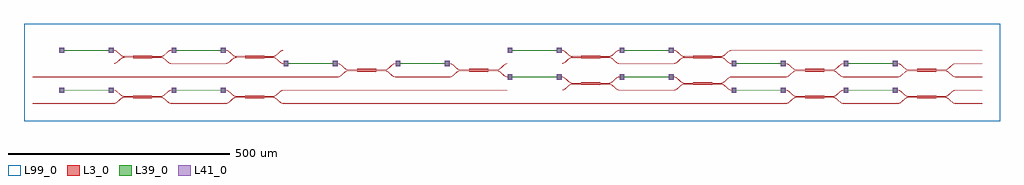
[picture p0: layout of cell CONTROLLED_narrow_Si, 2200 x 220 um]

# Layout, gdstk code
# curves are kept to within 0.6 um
import gdstk
lib = gdstk.Library(unit=1e-6, precision=1e-09)
def R(c, l, rs):  # rectangles x0, y0, x1, y1
    for r in rs: c.add(gdstk.rectangle(r[:2], r[2:], *l))
def P(c, l, *ps):  # polygons
    for p in ps: c.add(gdstk.Polygon(p, *l))
L3_0 = (3, 0)
L39_0 = (39, 0)
L41_0 = (41, 0)
L99_0 = (99, 0)

controlled_narrow_si = lib.new_cell('CONTROLLED_narrow_Si')
R(controlled_narrow_si, L3_0, [(10,-145,30,-144.8)])
P(controlled_narrow_si, L3_0, [(1009.504,-120.225),(1009.504,-119.775),(1637.496,-119.775),(1638.617,-119.691),(1640.298,-119.257),(1641.425,-118.769),(1643.124,-117.765),(1645.976,-115.514),(1651.149,-110.68),(1653.462,-108.719),(1655.79,-107.154),(1657.548,-106.336),(1658.726,-105.988),(1659.908,-105.812),(1681,-105.265),(1681,-104.735),(1659.908,-104.188),(1658.726,-104.012),(1657.548,-103.664),(1655.79,-102.846),(1653.462,-101.281),(1651.149,-99.32),(1645.976,-94.486),(1643.124,-92.235),(1641.425,-91.231),(1640.298,-90.743),(1638.058,-90.247),(1513.908,-90.203),(1512.726,-90.027),(1511.548,-89.679),(1510.375,-89.171),(1508.624,-88.139),(1505.726,-85.852),(1500.549,-81.014),(1497.693,-78.648),(1495.99,-77.546),(1494.861,-76.984),(1492.617,-76.324),(1491.496,-76.24),(1405.337,-76.24),(1407.408,-75.812),(1428.5,-75.265),(1428.5,-74.735),(1407.408,-74.188),(1406.226,-74.012),(1405.048,-73.664),(1403.29,-72.846),(1400.962,-71.281),(1398.649,-69.32),(1393.476,-64.486),(1390.624,-62.235),(1388.925,-61.231),(1387.798,-60.743),(1385.558,-60.247),(1259.337,-60.225),(1260.817,-59.863),(1261.996,-59.775),(1385.592,-59.797),(1386.774,-59.973),(1387.952,-60.321),(1389.125,-60.829),(1390.876,-61.861),(1393.774,-64.148),(1398.951,-68.986),(1401.807,-71.352),(1403.51,-72.454),(1404.639,-73.016),(1406.883,-73.676),(1408.5,-73.76),(1428.5,-73.235),(1428.5,-72),(1471,-72),(1471,-73.235),(1492.058,-73.738),(1493.176,-73.572),(1494.861,-73.016),(1495.99,-72.454),(1497.693,-71.352),(1499.976,-69.499),(1506.304,-63.647),(1509.206,-61.484),(1511.548,-60.321),(1512.726,-59.973),(1513.908,-59.797),(1637.496,-59.775),(1639.736,-59.442),(1641.425,-58.769),(1643.693,-57.367),(1645.976,-55.514),(1652.883,-49.179),(1655.206,-47.499),(1657.548,-46.336),(1658.726,-45.988),(1659.908,-45.812),(1681,-45.265),(1681,-44.735),(1659.908,-44.188),(1658.726,-44.012),(1657.548,-43.664),(1655.206,-42.501),(1652.883,-40.821),(1645.976,-34.486),(1643.693,-32.633),(1641.425,-31.231),(1639.176,-30.413),(1637.496,-30.225),(1513.908,-30.203),(1512.726,-30.027),(1511.548,-29.679),(1510.375,-29.171),(1508.624,-28.139),(1505.726,-25.852),(1500.549,-21.014),(1497.693,-18.648),(1495.99,-17.546),(1494.861,-16.984),(1492.617,-16.324),(1491.496,-16.24),(1405.337,-16.24),(1407.408,-15.812),(1428.5,-15.265),(1428.5,-14.735),(1407.408,-14.188),(1406.226,-14.012),(1405.048,-13.664),(1402.706,-12.501),(1400.383,-10.821),(1393.476,-4.486),(1391.193,-2.633),(1389.49,-1.531),(1388.361,-0.969),(1386.117,-0.309),(1384.996,-0.225),(1259.337,-0.225),(1260.817,0.137),(1261.996,0.225),(1385.592,0.203),(1386.774,0.027),(1387.952,-0.321),(1389.125,-0.829),(1390.876,-1.861),(1393.774,-4.148),(1398.951,-8.986),(1401.807,-11.352),(1403.51,-12.454),(1404.639,-13.016),(1406.883,-13.676),(1408.5,-13.76),(1428.5,-13.235),(1428.5,-12),(1471,-12),(1471,-13.235),(1491.496,-13.76),(1492.617,-13.676),(1494.298,-13.242),(1495.425,-12.754),(1497.124,-11.75),(1499.976,-9.499),(1506.304,-3.647),(1509.206,-1.484),(1510.961,-0.555),(1512.136,-0.126),(1513.317,0.137),(1514.496,0.225),(2080,0.225),(2080,-0.225),(1514.504,-0.225),(1513.383,-0.309),(1511.702,-0.743),(1510.575,-1.231),(1508.876,-2.235),(1506.024,-4.486),(1500.851,-9.32),(1498.538,-11.281),(1496.21,-12.846),(1494.452,-13.664),(1493.274,-14.012),(1492.092,-14.188),(1471,-14.735),(1471,-15.265),(1492.092,-15.812),(1493.274,-15.988),(1494.452,-16.336),(1496.21,-17.154),(1498.538,-18.719),(1500.851,-20.68),(1506.024,-25.514),(1508.876,-27.765),(1510.575,-28.769),(1511.702,-29.257),(1513.942,-29.753),(1637.504,-29.775),(1638.683,-29.863),(1641.039,-30.555),(1642.21,-31.139),(1643.957,-32.269),(1646.274,-34.148),(1652.596,-39.996),(1654.876,-41.75),(1656.575,-42.754),(1657.702,-43.242),(1659.942,-43.738),(1681,-43.235),(1681,-42),(1723.5,-42),(1723.5,-43.235),(1743.5,-43.76),(1745.117,-43.676),(1747.361,-43.016),(1748.49,-42.454),(1750.193,-41.352),(1752.476,-39.499),(1758.804,-33.647),(1761.706,-31.484),(1762.875,-30.829),(1764.337,-30.225),(1767.004,-30.225),(1765.883,-30.309),(1764.202,-30.743),(1763.075,-31.231),(1761.376,-32.235),(1758.524,-34.486),(1753.351,-39.32),(1751.038,-41.281),(1748.71,-42.846),(1746.952,-43.664),(1745.774,-44.012),(1744.592,-44.188),(1723.5,-44.735),(1723.5,-45.265),(1744.592,-45.812),(1745.774,-45.988),(1746.952,-46.336),(1748.71,-47.154),(1751.038,-48.719),(1753.351,-50.68),(1758.524,-55.514),(1761.376,-57.765),(1763.075,-58.769),(1764.202,-59.257),(1765.883,-59.691),(1767.004,-59.775),(1890.558,-59.753),(1892.798,-59.257),(1893.925,-58.769),(1895.624,-57.765),(1898.476,-55.514),(1903.649,-50.68),(1905.962,-48.719),(1908.29,-47.154),(1910.048,-46.336),(1911.226,-45.988),(1912.408,-45.812),(1933.5,-45.265),(1933.5,-44.735),(1912.408,-44.188),(1911.226,-44.012),(1910.048,-43.664),(1908.29,-42.846),(1905.962,-41.281),(1903.649,-39.32),(1898.476,-34.486),(1895.624,-32.235),(1893.925,-31.231),(1892.798,-30.743),(1890.558,-30.247),(1764.337,-30.225),(1766.408,-29.797),(1890.592,-29.797),(1891.774,-29.973),(1892.952,-30.321),(1894.125,-30.829),(1895.876,-31.861),(1898.774,-34.148),(1903.951,-38.986),(1906.807,-41.352),(1908.51,-42.454),(1909.639,-43.016),(1911.883,-43.676),(1913.5,-43.76),(1933.5,-43.235),(1933.5,-42),(1976,-42),(1976,-43.235),(1996.496,-43.76),(1998.736,-43.427),(1999.861,-43.016),(2001.556,-42.119),(2004.404,-39.996),(2010.726,-34.148),(2013.043,-32.269),(2014.79,-31.139),(2015.961,-30.555),(2018.317,-29.863),(2019.496,-29.775),(2080,-29.775),(2080,-30.225),(2018.383,-30.309),(2016.139,-30.969),(2015.01,-31.531),(2013.307,-32.633),(2011.024,-34.486),(2004.117,-40.821),(2001.794,-42.501),(1999.452,-43.664),(1998.274,-44.012),(1997.092,-44.188),(1976,-44.735),(1976,-45.265),(1997.092,-45.812),(1998.274,-45.988),(1999.452,-46.336),(2001.794,-47.499),(2004.117,-49.179),(2011.024,-55.514),(2013.307,-57.367),(2015.01,-58.469),(2016.139,-59.031),(2018.383,-59.691),(2080,-59.775),(2080,-60.225),(2019.496,-60.225),(2018.317,-60.137),(2015.961,-59.445),(2014.79,-58.861),(2013.043,-57.731),(2010.726,-55.852),(2004.404,-50.004),(2001.556,-47.881),(1999.861,-46.984),(1998.736,-46.573),(1996.496,-46.24),(1976,-46.765),(1976,-48),(1933.5,-48),(1933.5,-46.765),(1913.5,-46.24),(1911.883,-46.324),(1909.639,-46.984),(1908.51,-47.546),(1906.807,-48.648),(1904.524,-50.501),(1898.196,-56.353),(1895.294,-58.516),(1893.539,-59.445),(1892.364,-59.874),(1891.183,-60.137),(1890.004,-60.225),(1766.408,-60.203),(1765.226,-60.027),(1764.048,-59.679),(1762.875,-59.171),(1761.124,-58.139),(1758.226,-55.852),(1753.049,-51.014),(1750.193,-48.648),(1748.49,-47.546),(1747.361,-46.984),(1745.117,-46.324),(1743.5,-46.24),(1723.5,-46.765),(1723.5,-48),(1681,-48),(1681,-46.765),(1660.504,-46.24),(1658.264,-46.573),(1657.139,-46.984),(1655.444,-47.881),(1652.596,-50.004),(1646.274,-55.852),(1643.957,-57.731),(1642.21,-58.861),(1641.039,-59.445),(1638.683,-60.137),(1637.504,-60.225),(1513.942,-60.247),(1511.702,-60.743),(1510.575,-61.231),(1508.876,-62.235),(1506.024,-64.486),(1500.851,-69.32),(1498.538,-71.281),(1496.21,-72.846),(1494.452,-73.664),(1493.274,-74.012),(1492.092,-74.188),(1471,-74.735),(1471,-75.265),(1492.092,-75.812),(1493.274,-75.988),(1494.452,-76.336),(1496.21,-77.154),(1498.538,-78.719),(1500.851,-80.68),(1506.024,-85.514),(1508.876,-87.765),(1510.575,-88.769),(1511.702,-89.257),(1513.942,-89.753),(1637.504,-89.775),(1638.683,-89.863),(1641.039,-90.555),(1642.21,-91.139),(1643.957,-92.269),(1646.274,-94.148),(1652.596,-99.996),(1654.876,-101.75),(1656.575,-102.754),(1657.702,-103.242),(1659.942,-103.738),(1681,-103.235),(1681,-102),(1723.5,-102),(1723.5,-103.235),(1743.5,-103.76),(1745.117,-103.676),(1747.361,-103.016),(1748.49,-102.454),(1750.193,-101.352),(1752.476,-99.499),(1758.804,-93.647),(1761.706,-91.484),(1762.875,-90.829),(1764.337,-90.225),(1767.004,-90.225),(1765.883,-90.309),(1764.202,-90.743),(1763.075,-91.231),(1761.376,-92.235),(1758.524,-94.486),(1753.351,-99.32),(1751.038,-101.281),(1748.71,-102.846),(1746.952,-103.664),(1745.774,-104.012),(1744.592,-104.188),(1723.5,-104.735),(1723.5,-105.265),(1744.592,-105.812),(1745.774,-105.988),(1746.952,-106.336),(1748.71,-107.154),(1751.038,-108.719),(1753.351,-110.68),(1758.524,-115.514),(1761.376,-117.765),(1763.075,-118.769),(1764.202,-119.257),(1765.883,-119.691),(1767.004,-119.775),(1890.558,-119.753),(1892.798,-119.257),(1893.925,-118.769),(1895.624,-117.765),(1898.476,-115.514),(1903.649,-110.68),(1905.962,-108.719),(1908.29,-107.154),(1910.048,-106.336),(1911.226,-105.988),(1912.408,-105.812),(1933.5,-105.265),(1933.5,-104.735),(1912.408,-104.188),(1911.226,-104.012),(1910.048,-103.664),(1908.29,-102.846),(1905.962,-101.281),(1903.649,-99.32),(1898.476,-94.486),(1895.624,-92.235),(1893.925,-91.231),(1892.798,-90.743),(1890.558,-90.247),(1764.337,-90.225),(1766.408,-89.797),(1890.592,-89.797),(1891.774,-89.973),(1892.952,-90.321),(1894.125,-90.829),(1895.876,-91.861),(1898.774,-94.148),(1903.951,-98.986),(1906.807,-101.352),(1908.51,-102.454),(1909.639,-103.016),(1911.883,-103.676),(1913.5,-103.76),(1933.5,-103.235),(1933.5,-102),(1976,-102),(1976,-103.235),(1996.496,-103.76),(1998.736,-103.427),(1999.861,-103.016),(2001.556,-102.119),(2004.404,-99.996),(2010.726,-94.148),(2013.043,-92.269),(2014.79,-91.139),(2015.961,-90.555),(2018.317,-89.863),(2019.496,-89.775),(2080,-89.775),(2080,-90.225),(2018.383,-90.309),(2016.139,-90.969),(2015.01,-91.531),(2013.307,-92.633),(2011.024,-94.486),(2004.117,-100.821),(2001.794,-102.501),(1999.452,-103.664),(1998.274,-104.012),(1997.092,-104.188),(1976,-104.735),(1976,-105.265),(1997.092,-105.812),(1998.274,-105.988),(1999.452,-106.336),(2001.794,-107.499),(2004.117,-109.179),(2011.024,-115.514),(2013.307,-117.367),(2015.01,-118.469),(2016.139,-119.031),(2018.383,-119.691),(2080,-119.775),(2080,-120.225),(2019.496,-120.225),(2018.317,-120.137),(2015.961,-119.445),(2014.79,-118.861),(2013.043,-117.731),(2010.726,-115.852),(2004.404,-110.004),(2001.556,-107.881),(1999.861,-106.984),(1998.736,-106.573),(1996.496,-106.24),(1976,-106.765),(1976,-108),(1933.5,-108),(1933.5,-106.765),(1913.5,-106.24),(1911.883,-106.324),(1909.639,-106.984),(1908.51,-107.546),(1906.807,-108.648),(1904.524,-110.501),(1898.196,-116.353),(1895.294,-118.516),(1893.539,-119.445),(1892.364,-119.874),(1891.183,-120.137),(1890.004,-120.225),(1766.408,-120.203),(1765.226,-120.027),(1763.461,-119.445),(1762.29,-118.861),(1760.543,-117.731),(1758.226,-115.852),(1751.904,-110.004),(1749.056,-107.881),(1747.361,-106.984),(1746.236,-106.573),(1743.996,-106.24),(1723.5,-106.765),(1723.5,-108),(1681,-108),(1681,-106.765),(1661,-106.24),(1659.383,-106.324),(1657.139,-106.984),(1656.01,-107.546),(1654.307,-108.648),(1652.024,-110.501),(1645.696,-116.353),(1642.794,-118.516),(1641.039,-119.445),(1639.864,-119.874),(1638.683,-120.137),(1637.504,-120.225)],
  [(1009.504,-90.225),(1009.504,-89.775),(1133.058,-89.753),(1135.298,-89.257),(1136.425,-88.769),(1138.124,-87.765),(1140.976,-85.514),(1146.149,-80.68),(1148.462,-78.719),(1150.79,-77.154),(1152.548,-76.336),(1154.908,-75.812),(1176,-75.265),(1176,-74.735),(1154.908,-74.188),(1152.548,-73.664),(1150.79,-72.846),(1148.462,-71.281),(1146.149,-69.32),(1140.976,-64.486),(1138.124,-62.235),(1136.425,-61.231),(1135.298,-60.743),(1133.058,-60.247),(1009.504,-60.225),(1009.504,-59.775),(1133.092,-59.797),(1134.274,-59.973),(1136.039,-60.555),(1138.957,-62.269),(1141.274,-64.148),(1147.596,-69.996),(1150.444,-72.119),(1152.139,-73.016),(1153.264,-73.427),(1155.504,-73.76),(1176,-73.235),(1176,-72),(1218.5,-72),(1218.5,-73.235),(1238.5,-73.76),(1240.117,-73.676),(1242.361,-73.016),(1245.193,-71.352),(1247.476,-69.499),(1253.804,-63.647),(1256.706,-61.484),(1259.337,-60.225),(1262.004,-60.225),(1260.883,-60.309),(1259.202,-60.743),(1258.075,-61.231),(1256.376,-62.235),(1253.524,-64.486),(1248.351,-69.32),(1246.038,-71.281),(1243.71,-72.846),(1241.952,-73.664),(1239.592,-74.188),(1218.5,-74.735),(1218.5,-75.265),(1239.592,-75.812),(1241.952,-76.336),(1243.71,-77.154),(1246.038,-78.719),(1248.351,-80.68),(1253.524,-85.514),(1256.376,-87.765),(1258.075,-88.769),(1259.202,-89.257),(1260.883,-89.691),(1262.004,-89.775),(1385.558,-89.753),(1387.798,-89.257),(1388.925,-88.769),(1390.624,-87.765),(1393.476,-85.514),(1398.649,-80.68),(1400.962,-78.719),(1403.29,-77.154),(1405.337,-76.24),(1491,-76.24),(1471,-76.765),(1471,-78),(1428.5,-78),(1428.5,-76.765),(1408.5,-76.24),(1406.883,-76.324),(1404.639,-76.984),(1401.807,-78.648),(1399.524,-80.501),(1393.196,-86.353),(1390.294,-88.516),(1388.539,-89.445),(1387.364,-89.874),(1385.004,-90.225),(1261.408,-90.203),(1260.226,-90.027),(1258.461,-89.445),(1255.543,-87.731),(1253.226,-85.852),(1246.904,-80.004),(1244.056,-77.881),(1242.361,-76.984),(1241.236,-76.573),(1238.996,-76.24),(1218.5,-76.765),(1218.5,-78),(1176,-78),(1176,-76.765),(1156,-76.24),(1154.383,-76.324),(1152.139,-76.984),(1149.307,-78.648),(1146.451,-81.014),(1141.274,-85.852),(1138.376,-88.139),(1136.625,-89.171),(1135.452,-89.679),(1133.092,-90.203)],
  [(1009.504,-30.225),(1009.504,-29.775),(1133.058,-29.753),(1135.298,-29.257),(1136.425,-28.769),(1138.124,-27.765),(1140.976,-25.514),(1146.149,-20.68),(1148.462,-18.719),(1150.79,-17.154),(1152.548,-16.336),(1154.908,-15.812),(1176,-15.265),(1176,-14.735),(1154.908,-14.188),(1152.548,-13.664),(1150.79,-12.846),(1148.462,-11.281),(1146.149,-9.32),(1140.976,-4.486),(1138.124,-2.235),(1136.425,-1.231),(1135.298,-0.743),(1133.058,-0.247),(1009.504,-0.225),(1009.504,0.225),(1133.092,0.203),(1134.274,0.027),(1136.039,-0.555),(1138.957,-2.269),(1141.274,-4.148),(1147.596,-9.996),(1150.444,-12.119),(1152.139,-13.016),(1153.264,-13.427),(1155.504,-13.76),(1176,-13.235),(1176,-12),(1218.5,-12),(1218.5,-13.235),(1238.5,-13.76),(1240.117,-13.676),(1242.361,-13.016),(1245.193,-11.352),(1247.476,-9.499),(1253.804,-3.647),(1256.706,-1.484),(1259.337,-0.225),(1262.004,-0.225),(1260.883,-0.309),(1259.202,-0.743),(1258.075,-1.231),(1256.376,-2.235),(1253.524,-4.486),(1248.351,-9.32),(1246.038,-11.281),(1243.71,-12.846),(1241.952,-13.664),(1239.592,-14.188),(1218.5,-14.735),(1218.5,-15.265),(1239.592,-15.812),(1241.952,-16.336),(1243.71,-17.154),(1246.038,-18.719),(1248.351,-20.68),(1253.524,-25.514),(1256.376,-27.765),(1258.075,-28.769),(1259.202,-29.257),(1260.883,-29.691),(1262.004,-29.775),(1385.558,-29.753),(1387.798,-29.257),(1388.925,-28.769),(1390.624,-27.765),(1393.476,-25.514),(1398.649,-20.68),(1400.962,-18.719),(1403.29,-17.154),(1405.337,-16.24),(1491,-16.24),(1471,-16.765),(1471,-18),(1428.5,-18),(1428.5,-16.765),(1408.5,-16.24),(1406.883,-16.324),(1404.639,-16.984),(1401.807,-18.648),(1399.524,-20.501),(1393.196,-26.353),(1390.294,-28.516),(1388.539,-29.445),(1387.364,-29.874),(1385.004,-30.225),(1261.408,-30.203),(1260.226,-30.027),(1258.461,-29.445),(1255.543,-27.731),(1253.226,-25.852),(1246.904,-20.004),(1244.056,-17.881),(1242.361,-16.984),(1241.236,-16.573),(1238.996,-16.24),(1218.5,-16.765),(1218.5,-18),(1176,-18),(1176,-16.765),(1156,-16.24),(1154.383,-16.324),(1152.139,-16.984),(1149.307,-18.648),(1146.451,-21.014),(1141.274,-25.852),(1138.376,-28.139),(1136.625,-29.171),(1135.452,-29.679),(1133.092,-30.203)],
  [(501.837,-0.225),(502.136,-0.126),(502.726,0.027),(503.317,0.137),(503.908,0.203),(504.496,0.225),(1009.504,0.225),(1009.504,-0.225)],
  [(-60,-60.225),(-60,-59.775),(627.496,-59.775),(628.617,-59.691),(630.298,-59.257),(631.425,-58.769),(633.124,-57.765),(635.976,-55.514),(641.149,-50.68),(643.462,-48.719),(645.79,-47.154),(647.548,-46.336),(649.908,-45.812),(671,-45.265),(671,-44.735),(649.908,-44.188),(647.548,-43.664),(645.79,-42.846),(643.462,-41.281),(641.149,-39.32),(635.976,-34.486),(633.124,-32.235),(631.425,-31.231),(630.298,-30.743),(628.058,-30.247),(503.317,-30.137),(500.961,-29.445),(499.79,-28.861),(498.043,-27.731),(495.726,-25.852),(489.404,-20.004),(486.556,-17.881),(484.861,-16.984),(483.736,-16.573),(481.496,-16.24),(461,-16.765),(461,-18),(418.5,-18),(418.5,-16.765),(398.5,-16.24),(396.883,-16.324),(394.639,-16.984),(393.51,-17.546),(391.807,-18.648),(389.524,-20.501),(383.196,-26.353),(380.294,-28.516),(378.539,-29.445),(377.364,-29.874),(375.004,-30.225),(251.408,-30.203),(250.226,-30.027),(248.461,-29.445),(247.29,-28.861),(245.543,-27.731),(243.226,-25.852),(236.904,-20.004),(234.056,-17.881),(232.361,-16.984),(231.236,-16.573),(228.996,-16.24),(208.5,-16.765),(208.5,-18),(166,-18),(166,-16.765),(146,-16.24),(144.383,-16.324),(142.139,-16.984),(141.01,-17.546),(139.307,-18.648),(136.451,-21.014),(131.274,-25.852),(128.376,-28.139),(126.625,-29.171),(125.452,-29.679),(123.092,-30.203),(-60,-30.225),(-60,-29.775),(123.058,-29.753),(125.298,-29.257),(126.425,-28.769),(128.124,-27.765),(130.976,-25.514),(136.149,-20.68),(138.462,-18.719),(140.79,-17.154),(142.548,-16.336),(144.908,-15.812),(166,-15.265),(166,-14.735),(144.908,-14.188),(142.548,-13.664),(140.79,-12.846),(138.462,-11.281),(136.149,-9.32),(130.976,-4.486),(128.124,-2.235),(126.425,-1.231),(125.298,-0.743),(123.058,-0.247),(-60,-0.225),(-60,0.225),(123.092,0.203),(124.274,0.027),(126.039,-0.555),(127.21,-1.139),(128.957,-2.269),(131.274,-4.148),(137.596,-9.996),(140.444,-12.119),(142.139,-13.016),(143.264,-13.427),(145.504,-13.76),(166,-13.235),(166,-12),(208.5,-12),(208.5,-13.235),(228.5,-13.76),(230.117,-13.676),(232.361,-13.016),(233.49,-12.454),(235.193,-11.352),(237.476,-9.499),(243.804,-3.647),(246.706,-1.484),(249.337,-0.225),(252.004,-0.225),(250.883,-0.309),(249.202,-0.743),(248.075,-1.231),(246.376,-2.235),(243.524,-4.486),(238.351,-9.32),(236.038,-11.281),(233.71,-12.846),(231.952,-13.664),(229.592,-14.188),(208.5,-14.735),(208.5,-15.265),(229.592,-15.812),(231.952,-16.336),(233.71,-17.154),(236.038,-18.719),(238.351,-20.68),(243.524,-25.514),(246.376,-27.765),(248.075,-28.769),(249.202,-29.257),(250.883,-29.691),(252.004,-29.775),(375.558,-29.753),(377.798,-29.257),(378.925,-28.769),(380.624,-27.765),(383.476,-25.514),(388.649,-20.68),(390.962,-18.719),(393.29,-17.154),(395.048,-16.336),(397.408,-15.812),(418.5,-15.265),(418.5,-14.735),(397.408,-14.188),(395.048,-13.664),(393.29,-12.846),(390.962,-11.281),(388.649,-9.32),(383.476,-4.486),(380.624,-2.235),(378.925,-1.231),(377.798,-0.743),(375.558,-0.247),(249.337,-0.225),(250.817,0.137),(251.996,0.225),(375.592,0.203),(376.774,0.027),(378.539,-0.555),(379.71,-1.139),(381.457,-2.269),(383.774,-4.148),(390.096,-9.996),(392.944,-12.119),(394.639,-13.016),(395.764,-13.427),(398.004,-13.76),(418.5,-13.235),(418.5,-12),(461,-12),(461,-13.235),(481,-13.76),(482.617,-13.676),(484.861,-13.016),(485.99,-12.454),(487.693,-11.352),(489.976,-9.499),(496.304,-3.647),(499.206,-1.484),(501.837,-0.225),(504.504,-0.225),(503.383,-0.309),(501.702,-0.743),(500.575,-1.231),(498.876,-2.235),(496.024,-4.486),(490.851,-9.32),(488.538,-11.281),(486.21,-12.846),(484.452,-13.664),(482.092,-14.188),(461,-14.735),(461,-15.265),(482.092,-15.812),(484.452,-16.336),(486.794,-17.499),(489.117,-19.179),(496.024,-25.514),(498.307,-27.367),(500.575,-28.769),(502.824,-29.587),(504.504,-29.775),(628.092,-29.797),(629.274,-29.973),(631.039,-30.555),(632.21,-31.139),(633.957,-32.269),(636.274,-34.148),(642.596,-39.996),(645.444,-42.119),(647.139,-43.016),(648.264,-43.427),(650.504,-43.76),(671,-43.235),(671,-42),(713.5,-42),(713.5,-43.235),(733.5,-43.76),(735.117,-43.676),(737.361,-43.016),(738.49,-42.454),(740.193,-41.352),(742.476,-39.499),(748.804,-33.647),(751.706,-31.484),(754.337,-30.225),(757.004,-30.225),(755.883,-30.309),(754.202,-30.743),(753.075,-31.231),(751.376,-32.235),(748.524,-34.486),(743.351,-39.32),(741.038,-41.281),(738.71,-42.846),(736.952,-43.664),(734.592,-44.188),(713.5,-44.735),(713.5,-45.265),(734.592,-45.812),(736.952,-46.336),(738.71,-47.154),(741.038,-48.719),(743.351,-50.68),(748.524,-55.514),(751.376,-57.765),(753.075,-58.769),(754.202,-59.257),(755.883,-59.691),(757.004,-59.775),(880.558,-59.753),(882.798,-59.257),(883.925,-58.769),(885.624,-57.765),(888.476,-55.514),(893.649,-50.68),(895.962,-48.719),(898.29,-47.154),(900.048,-46.336),(902.408,-45.812),(923.5,-45.265),(923.5,-44.735),(902.408,-44.188),(900.048,-43.664),(898.29,-42.846),(895.962,-41.281),(893.649,-39.32),(888.476,-34.486),(885.624,-32.235),(883.925,-31.231),(882.798,-30.743),(880.558,-30.247),(754.337,-30.225),(755.817,-29.863),(756.996,-29.775),(880.592,-29.797),(882.952,-30.321),(884.125,-30.829),(885.876,-31.861),(888.774,-34.148),(893.951,-38.986),(896.807,-41.352),(898.51,-42.454),(899.639,-43.016),(901.883,-43.676),(903.5,-43.76),(923.5,-43.235),(923.5,-42),(966,-42),(966,-43.235),(986.496,-43.76),(987.617,-43.676),(989.298,-43.242),(990.425,-42.754),(992.124,-41.75),(994.976,-39.499),(1001.304,-33.647),(1004.206,-31.484),(1005.961,-30.555),(1007.136,-30.126),(1008.317,-29.863),(1009.504,-29.775),(1009.504,-30.225),(1008.383,-30.309),(1006.702,-30.743),(1005.575,-31.231),(1003.876,-32.235),(1001.024,-34.486),(995.851,-39.32),(993.538,-41.281),(991.21,-42.846),(989.452,-43.664),(987.092,-44.188),(966,-44.735),(966,-45.265),(987.092,-45.812),(989.452,-46.336),(991.21,-47.154),(993.538,-48.719),(995.851,-50.68),(1001.024,-55.514),(1003.876,-57.765),(1005.575,-58.769),(1006.702,-59.257),(1008.383,-59.691),(1009.504,-59.775),(1009.504,-60.225),(1008.317,-60.137),(1007.136,-59.874),(1005.961,-59.445),(1004.206,-58.516),(1001.304,-56.353),(994.976,-50.501),(992.124,-48.25),(990.425,-47.246),(989.298,-46.758),(987.617,-46.324),(986.496,-46.24),(966,-46.765),(966,-48),(923.5,-48),(923.5,-46.765),(903.5,-46.24),(901.883,-46.324),(899.639,-46.984),(898.51,-47.546),(896.807,-48.648),(894.524,-50.501),(888.196,-56.353),(885.294,-58.516),(883.539,-59.445),(882.364,-59.874),(880.004,-60.225),(756.408,-60.203),(755.226,-60.027),(753.461,-59.445),(752.29,-58.861),(750.543,-57.731),(748.226,-55.852),(741.904,-50.004),(739.056,-47.881),(737.361,-46.984),(736.236,-46.573),(733.996,-46.24),(713.5,-46.765),(713.5,-48),(671,-48),(671,-46.765),(651,-46.24),(649.383,-46.324),(647.139,-46.984),(646.01,-47.546),(644.307,-48.648),(642.024,-50.501),(635.696,-56.353),(632.794,-58.516),(631.039,-59.445),(629.864,-59.874),(627.504,-60.225)],
  [(-60,-120.225),(-60,-119.775),(123.058,-119.753),(124.176,-119.587),(125.298,-119.257),(126.425,-118.769),(128.124,-117.765),(130.976,-115.514),(136.149,-110.68),(138.462,-108.719),(140.79,-107.154),(142.548,-106.336),(143.726,-105.988),(144.908,-105.812),(166,-105.265),(166,-104.735),(144.908,-104.188),(143.726,-104.012),(142.548,-103.664),(140.79,-102.846),(138.462,-101.281),(136.149,-99.32),(130.976,-94.486),(128.124,-92.235),(126.425,-91.231),(125.298,-90.743),(124.176,-90.413),(123.058,-90.247),(-60,-90.225),(-60,-89.775),(123.092,-89.797),(124.274,-89.973),(126.039,-90.555),(127.21,-91.139),(128.957,-92.269),(131.274,-94.148),(137.596,-99.996),(140.444,-102.119),(142.139,-103.016),(143.264,-103.427),(144.383,-103.676),(145.504,-103.76),(166,-103.235),(166,-102),(208.5,-102),(208.5,-103.235),(228.5,-103.76),(230.117,-103.676),(231.236,-103.427),(232.361,-103.016),(233.49,-102.454),(235.193,-101.352),(237.476,-99.499),(243.804,-93.647),(246.706,-91.484),(247.875,-90.829),(249.337,-90.225),(252.004,-90.225),(250.883,-90.309),(249.202,-90.743),(248.075,-91.231),(246.376,-92.235),(243.524,-94.486),(238.351,-99.32),(236.038,-101.281),(233.71,-102.846),(231.952,-103.664),(230.774,-104.012),(229.592,-104.188),(208.5,-104.735),(208.5,-105.265),(229.592,-105.812),(230.774,-105.988),(231.952,-106.336),(233.71,-107.154),(236.038,-108.719),(238.351,-110.68),(243.524,-115.514),(246.376,-117.765),(248.075,-118.769),(249.202,-119.257),(250.883,-119.691),(252.004,-119.775),(375.558,-119.753),(376.676,-119.587),(377.798,-119.257),(378.925,-118.769),(380.624,-117.765),(383.476,-115.514),(388.649,-110.68),(390.962,-108.719),(393.29,-107.154),(395.048,-106.336),(396.226,-105.988),(397.408,-105.812),(418.5,-105.265),(418.5,-104.735),(397.408,-104.188),(396.226,-104.012),(395.048,-103.664),(393.29,-102.846),(390.962,-101.281),(388.649,-99.32),(383.476,-94.486),(380.624,-92.235),(378.925,-91.231),(377.798,-90.743),(376.676,-90.413),(375.558,-90.247),(249.337,-90.225),(251.408,-89.797),(375.592,-89.797),(376.774,-89.973),(377.952,-90.321),(379.125,-90.829),(380.876,-91.861),(383.774,-94.148),(388.951,-98.986),(391.807,-101.352),(393.51,-102.454),(394.639,-103.016),(395.764,-103.427),(396.883,-103.676),(398.5,-103.76),(418.5,-103.235),(418.5,-102),(461,-102),(461,-103.235),(481.496,-103.76),(482.617,-103.676),(484.298,-103.242),(485.425,-102.754),(487.124,-101.75),(489.976,-99.499),(496.304,-93.647),(499.206,-91.484),(500.961,-90.555),(502.136,-90.126),(503.317,-89.863),(504.496,-89.775),(1009.504,-89.775),(1009.504,-90.225),(504.504,-90.225),(503.383,-90.309),(501.702,-90.743),(500.575,-91.231),(498.876,-92.235),(496.024,-94.486),(490.851,-99.32),(488.538,-101.281),(486.21,-102.846),(484.452,-103.664),(483.274,-104.012),(482.092,-104.188),(461,-104.735),(461,-105.265),(482.092,-105.812),(483.274,-105.988),(484.452,-106.336),(486.21,-107.154),(488.538,-108.719),(490.851,-110.68),(496.024,-115.514),(498.876,-117.765),(500.575,-118.769),(501.702,-119.257),(503.383,-119.691),(504.504,-119.775),(1009.504,-119.775),(1009.504,-120.225),(504.496,-120.225),(503.317,-120.137),(502.136,-119.874),(500.961,-119.445),(499.206,-118.516),(496.304,-116.353),(489.976,-110.501),(487.124,-108.25),(485.425,-107.246),(484.298,-106.758),(482.617,-106.324),(481.496,-106.24),(461,-106.765),(461,-108),(418.5,-108),(418.5,-106.765),(398.5,-106.24),(396.883,-106.324),(395.764,-106.573),(394.639,-106.984),(393.51,-107.546),(391.807,-108.648),(389.524,-110.501),(383.196,-116.353),(380.294,-118.516),(378.539,-119.445),(377.364,-119.874),(376.183,-120.137),(375.004,-120.225),(251.408,-120.203),(250.226,-120.027),(248.461,-119.445),(247.29,-118.861),(245.543,-117.731),(243.226,-115.852),(236.904,-110.004),(234.056,-107.881),(232.361,-106.984),(231.236,-106.573),(230.117,-106.324),(228.996,-106.24),(208.5,-106.765),(208.5,-108),(166,-108),(166,-106.765),(146,-106.24),(144.383,-106.324),(143.264,-106.573),(142.139,-106.984),(141.01,-107.546),(139.307,-108.648),(136.451,-111.014),(131.274,-115.852),(128.376,-118.139),(126.625,-119.171),(125.452,-119.679),(124.274,-120.027),(123.092,-120.203)])
P(controlled_narrow_si, L39_0, [(1,-95),(1,-85),(11,-85),(11,-89.55),(111,-89.55),(111,-85),(121,-85),(121,-95),(111,-95),(111,-90.45),(11,-90.45),(11,-95)],
  [(253.5,-95),(253.5,-85),(263.5,-85),(263.5,-89.55),(363.5,-89.55),(363.5,-85),(373.5,-85),(373.5,-95),(363.5,-95),(363.5,-90.45),(263.5,-90.45),(263.5,-95)],
  [(1516,-95),(1516,-85),(1526,-85),(1526,-89.55),(1626,-89.55),(1626,-85),(1636,-85),(1636,-95),(1626,-95),(1626,-90.45),(1526,-90.45),(1526,-95)],
  [(1768.5,-95),(1768.5,-85),(1778.5,-85),(1778.5,-89.55),(1878.5,-89.55),(1878.5,-85),(1888.5,-85),(1888.5,-95),(1878.5,-95),(1878.5,-90.45),(1778.5,-90.45),(1778.5,-95)],
  [(1011,-65),(1011,-55),(1021,-55),(1021,-59.55),(1121,-59.55),(1121,-55),(1131,-55),(1131,-65),(1121,-65),(1121,-60.45),(1021,-60.45),(1021,-65)],
  [(1263.5,-65),(1263.5,-55),(1273.5,-55),(1273.5,-59.55),(1373.5,-59.55),(1373.5,-55),(1383.5,-55),(1383.5,-65),(1373.5,-65),(1373.5,-60.45),(1273.5,-60.45),(1273.5,-65)],
  [(506,-35),(506,-25),(516,-25),(516,-29.55),(616,-29.55),(616,-25),(626,-25),(626,-35),(616,-35),(616,-30.45),(516,-30.45),(516,-35)],
  [(758.5,-35),(758.5,-25),(768.5,-25),(768.5,-29.55),(868.5,-29.55),(868.5,-25),(878.5,-25),(878.5,-35),(868.5,-35),(868.5,-30.45),(768.5,-30.45),(768.5,-35)],
  [(1516,-35),(1516,-25),(1526,-25),(1526,-29.55),(1626,-29.55),(1626,-25),(1636,-25),(1636,-35),(1626,-35),(1626,-30.45),(1526,-30.45),(1526,-35)],
  [(1768.5,-35),(1768.5,-25),(1778.5,-25),(1778.5,-29.55),(1878.5,-29.55),(1878.5,-25),(1888.5,-25),(1888.5,-35),(1878.5,-35),(1878.5,-30.45),(1778.5,-30.45),(1778.5,-35)],
  [(1,-5),(1,5),(11,5),(11,0.45),(111,0.45),(111,5),(121,5),(121,-5),(111,-5),(111,-0.45),(11,-0.45),(11,-5)],
  [(253.5,-5),(253.5,5),(263.5,5),(263.5,0.45),(363.5,0.45),(363.5,5),(373.5,5),(373.5,-5),(363.5,-5),(363.5,-0.45),(263.5,-0.45),(263.5,-5)],
  [(1011,-5),(1011,5),(1021,5),(1021,0.45),(1121,0.45),(1121,5),(1131,5),(1131,-5),(1121,-5),(1121,-0.45),(1021,-0.45),(1021,-5)],
  [(1263.5,-5),(1263.5,5),(1273.5,5),(1273.5,0.45),(1373.5,0.45),(1373.5,5),(1383.5,5),(1383.5,-5),(1373.5,-5),(1373.5,-0.45),(1273.5,-0.45),(1273.5,-5)])
R(controlled_narrow_si, L41_0, [(0,-96,11,-84), (111,-96,122,-84), (252.5,-96,263.5,-84), (363.5,-96,374.5,-84), (1515,-96,1526,-84), (1626,-96,1637,-84), (1767.5,-96,1778.5,-84), (1878.5,-96,1889.5,-84), (1010,-66,1021,-54), (1121,-66,1132,-54), (1262.5,-66,1273.5,-54), (1373.5,-66,1384.5,-54), (505,-36,516,-24), (616,-36,627,-24), (757.5,-36,768.5,-24), (868.5,-36,879.5,-24), (1515,-36,1526,-24), (1626,-36,1637,-24), (1767.5,-36,1778.5,-24), (1878.5,-36,1889.5,-24), (0,-6,11,6), (111,-6,122,6), (252.5,-6,263.5,6), (363.5,-6,374.5,6), (1010,-6,1021,6), (1121,-6,1132,6), (1262.5,-6,1273.5,6), (1373.5,-6,1384.5,6)])
R(controlled_narrow_si, L99_0, [(-80,-160,2120,60)])

lib.write_gds('CONTROLLED_narrow_Si.gds')
